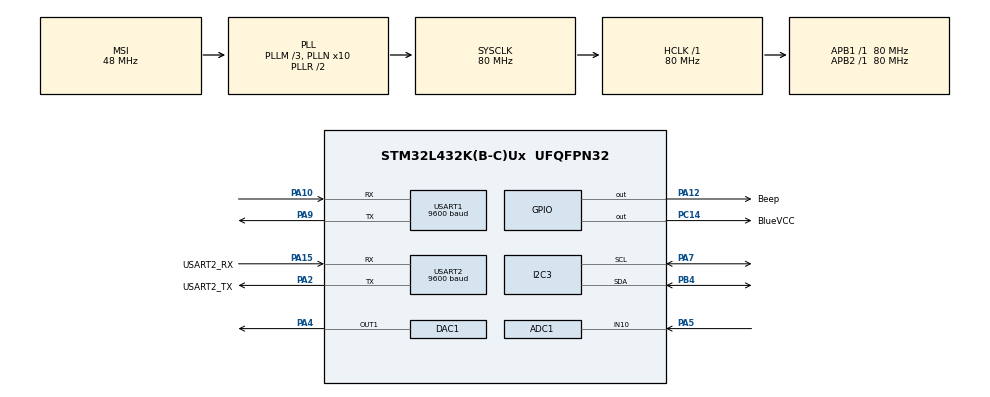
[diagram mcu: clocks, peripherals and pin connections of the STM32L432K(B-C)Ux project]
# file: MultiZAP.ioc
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ADC1.Channel-0\#ChannelRegularConversion=ADC_CHANNEL_10
ADC1.ContinuousConvMode=ENABLE
ADC1.DMAContinuousRequests=ENABLE
ADC1.NbrOfConversionFlag=1
ADC1.OffsetNumber-0\#ChannelRegularConversion=ADC_OFFSET_NONE
ADC1.Rank-0\#ChannelRegularConversion=1
ADC1.SamplingTime-0\#ChannelRegularConversion=ADC_SAMPLETIME_247CYCLES_5
ADC1.master=1
DAC1.DAC_Trigger-DAC_OUT1=DAC_TRIGGER_T6_TRGO
Dma.ADC1.1.Direction=DMA_PERIPH_TO_MEMORY
Dma.ADC1.1.Instance=DMA1_Channel1
Dma.ADC1.1.MemDataAlignment=DMA_MDATAALIGN_HALFWORD
Dma.ADC1.1.MemInc=DMA_MINC_ENABLE
Dma.ADC1.1.Mode=DMA_CIRCULAR
Dma.ADC1.1.PeriphDataAlignment=DMA_PDATAALIGN_HALFWORD
Dma.ADC1.1.PeriphInc=DMA_PINC_DISABLE
Dma.ADC1.1.Priority=DMA_PRIORITY_LOW
Dma.DAC_CH1.0.Direction=DMA_MEMORY_TO_PERIPH
Dma.DAC_CH1.0.Instance=DMA1_Channel3
Dma.DAC_CH1.0.MemDataAlignment=DMA_MDATAALIGN_HALFWORD
Dma.DAC_CH1.0.MemInc=DMA_MINC_ENABLE
Dma.DAC_CH1.0.Mode=DMA_CIRCULAR
Dma.DAC_CH1.0.PeriphDataAlignment=DMA_PDATAALIGN_HALFWORD
Dma.DAC_CH1.0.PeriphInc=DMA_PINC_DISABLE
Dma.DAC_CH1.0.Priority=DMA_PRIORITY_LOW
Dma.Request0=DAC_CH1
Dma.Request1=ADC1
I2C3.Timing=0x10909CEC
Mcu.Family=STM32L4
Mcu.Name=STM32L432K(B-C)Ux
Mcu.Package=UFQFPN32
NVIC.DMA1_Channel1_IRQn=true\:0\:0\:false\:false\:true\:false\:true
NVIC.DMA1_Channel3_IRQn=true\:0\:0\:false\:false\:true\:false\:true
NVIC.PriorityGroup=NVIC_PRIORITYGROUP_4
NVIC.TIM6_DAC_IRQn=true\:0\:0\:false\:false\:true\:true\:true
NVIC.USART1_IRQn=true\:0\:0\:false\:false\:true\:true\:true
NVIC.USART2_IRQn=true\:0\:0\:false\:false\:true\:true\:true
PA0.Mode=HSE-External-Clock-Source-for-LittleOrca
PA0.Signal=RCC_CK_IN
PA10.Mode=Asynchronous
PA10.Signal=USART1_RX
PA12.GPIO_Label=Beep
PA12.Signal=GPIO_Output
PA13\ (JTMS-SWDIO).Mode=Serial_Wire
PA13\ (JTMS-SWDIO).Signal=SYS_JTMS-SWDIO
PA14\ (JTCK-SWCLK).Mode=Serial_Wire
PA14\ (JTCK-SWCLK).Signal=SYS_JTCK-SWCLK
PA15\ (JTDI).GPIO_Label=USART2_RX
PA15\ (JTDI).Mode=Asynchronous
PA15\ (JTDI).Signal=USART2_RX
PA2.GPIO_Label=USART2_TX
PA2.Mode=Asynchronous
PA2.Signal=USART2_TX
PA4.Signal=COMP_DAC11_group
PA5.Signal=ADCx_IN10
PA7.Mode=I2C
PA7.Signal=I2C3_SCL
PA9.Mode=Asynchronous
PA9.Signal=USART1_TX
PB4\ (NJTRST).Mode=I2C
PB4\ (NJTRST).Signal=I2C3_SDA
PC14-OSC32_IN\ (PC14).GPIO_Label=BlueVCC
PC14-OSC32_IN\ (PC14).GPIO_PuPd=GPIO_PULLUP
PC14-OSC32_IN\ (PC14).Signal=GPIO_Output
ProjectManager.HeapSize=0x200
ProjectManager.StackSize=0x400
ProjectManager.TargetToolchain=SW4STM32
RCC.ADCCLockSelection=RCC_ADCCLKSOURCE_SYSCLK
RCC.ADCFreq_Value=80000000
RCC.AHBFreq_Value=80000000
RCC.APB1Freq_Value=80000000
RCC.APB1TimFreq_Value=80000000
RCC.APB2Freq_Value=80000000
RCC.APB2TimFreq_Value=80000000
RCC.CortexFreq_Value=80000000
RCC.HCLKFreq_Value=80000000
RCC.HSE_VALUE=24000000
RCC.HSI48_VALUE=48000000
RCC.HSI_VALUE=16000000
RCC.LSE_VALUE=32768
RCC.MSIClockRange=RCC_MSIRANGE_11
RCC.MSI_VALUE=48000000
RCC.PLLM=3
RCC.PLLN=10
RCC.PLLSAI1N=10
RCC.SYSCLKFreq_VALUE=80000000
RCC.SYSCLKSource=RCC_SYSCLKSOURCE_PLLCLK
RCC.USBFreq_Value=80000000
RCC.VCOOutputFreq_Value=160000000
SH.ADCx_IN10.0=ADC1_IN10,IN10-Single-Ended
SH.COMP_DAC11_group.0=DAC1_OUT1,DAC_OUT1
TIM6.TIM_MasterOutputTrigger=TIM_TRGO_UPDATE
USART1.BaudRate=9600
USART1.VirtualMode-Asynchronous=VM_ASYNC
USART2.BaudRate=9600
USART2.DMADisableonRxErrorParam=ADVFEATURE_DMA_ENABLEONRXERROR
USART2.OneBitSampling=UART_ONE_BIT_SAMPLE_DISABLE
USART2.OverrunDisableParam=ADVFEATURE_OVERRUN_ENABLE
USART2.SwapParam=ADVFEATURE_SWAP_DISABLE
USART2.VirtualMode-Asynchronous=VM_ASYNC
VP_TIM6_VS_ClockSourceINT.Mode=Enable_Timer
board=custom

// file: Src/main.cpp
/* USER CODE BEGIN Header */
/**
  ******************************************************************************
  * @file           : main.c
  * @brief          : Main program body
  ******************************************************************************
  * @attention
  *
  * <h2><center>&copy; Copyright (c) 2020 STMicroelectronics.
  * All rights reserved.</center></h2>
  *
  * This software component is licensed by ST under BSD 3-Clause license,
  * the "License"; You may not use this file except in compliance with the
  * License. You may obtain a copy of the License at:
  *                        opensource.org/licenses/BSD-3-Clause
  *
  ******************************************************************************
  */
/* USER CODE END Header */
#include "main.h"

/* USER CODE BEGIN Includes */
#include <string>
using namespace std;

#include "i2c_keypad.h"
#include "i2c_lcd.h"
#include "biozap_comm.h"
#include "biozap_prog.h"
#include "biozap_freq.h"
/* USER CODE END Includes */

ADC_HandleTypeDef hadc1;
DMA_HandleTypeDef hdma_adc1;

DAC_HandleTypeDef hdac1;
DMA_HandleTypeDef hdma_dac_ch1;

I2C_HandleTypeDef hi2c3;

TIM_HandleTypeDef htim6;

UART_HandleTypeDef huart1;
UART_HandleTypeDef huart2;

/* USER CODE BEGIN PV */
bool Keypad_withIT = true;
string lcd_msg = "multiZAP";
extern string EOL;
string uart_welcome_str = EOL+"multiZAP++ welcome !"+EOL+">";

#define adc_channels 1
uint16_t value_adc[adc_channels];

i2ckeypad i2c_keyPad(i2ckeypad(KEYPADD_ADDR));
/* USER CODE END PV */

void SystemClock_Config(void);
static void MX_GPIO_Init(void);
static void MX_DMA_Init(void);
static void MX_DAC1_Init(void);
static void MX_USART2_UART_Init(void);
static void MX_USART1_UART_Init(void);
static void MX_I2C3_Init(void);
static void MX_TIM6_Init(void);
static void MX_ADC1_Init(void);

/* USER CODE BEGIN 0 */

uint32_t Start_ADC(){
  HAL_ADC_Start(&hadc1);
  HAL_ADC_PollForConversion(&hadc1, HAL_MAX_DELAY);
  uint32_t adc_value = HAL_ADC_GetValue(&hadc1);
  //HAL_ADC_GetValue(&hadc1);
  HAL_ADC_Stop(&hadc1);
  return adc_value;
}

char saveKeyP = KEYPAD_NO_PRESSED;

void  printKey(char key)
{
  if (key != KEYPAD_NO_PRESSED)
  {
    value_adc[0] = Start_ADC();
    std::string workStr = "";
    workStr += key;
    workStr += " " + to_string((uint16_t)value_adc[0]) + "     " + EOL;
    KiIratas(&hi2c3, &huart2, workStr, false);
  }
}

char readKeyboard() {
  //char actKeyP = i2c_keyPad.getKeyP();
  char actKeyP = i2c_keyPad.get_key();
  if (saveKeyP != actKeyP)
  {
    saveKeyP = actKeyP;
    printKey(saveKeyP);
    if (saveKeyP == 'A') {
      //abort_Prog_Run = true; // in biozap_comm Delay
    }
    if (saveKeyP == 'B') {
        HAL_GPIO_TogglePin(BlueVCC_GPIO_Port, BlueVCC_Pin);
    }
    return saveKeyP;
  }
  else
    return KEYPAD_NO_PRESSED;
}

/* USER CODE END 0 */

int main(void)
{

  /* MCU Configuration--------------------------------------------------------*/

  /* Reset of all peripherals, Initializes the Flash interface and the Systick. */
  HAL_Init();

  /* Configure the system clock */
  SystemClock_Config();

  /* Initialize all configured peripherals */
  MX_GPIO_Init();
  MX_DMA_Init();
  MX_DAC1_Init();
  MX_USART2_UART_Init();
  MX_USART1_UART_Init();
  MX_I2C3_Init();
  MX_TIM6_Init();
  MX_ADC1_Init();
  /* USER CODE BEGIN 2 */
  extern uint8_t rx_data;
  extern volatile bool command_arrived;
  extern uint8_t rx1_data;
  extern volatile bool command1_arrived;
  uart_TX_IT(&huart2, uart_welcome_str);  // Welcome string to Serial
  HAL_UART_Receive_IT(&huart2, &rx_data, 1);  // Serial2 receive starting.
  uart_TX_IT(&huart1, uart_welcome_str);  // Welcome string to Serial
  HAL_UART_Receive_IT(&huart1, &rx1_data, 1);  // Serial2 receive starting.

  init_LCD(&hi2c3, &huart2, lcd_msg);

  i2c_keyPad.init();
  //init_Keypad(Keypad_withIT, &htim7); // Keypad init with interrupt routines or polling

  HAL_ADCEx_Calibration_Start(&hadc1, ADC_SINGLE_ENDED);
  //HAL_ADC_Start_DMA(&hadc1, (uint32_t *)&value_adc, adc_channels);

  extern string user_Program;
  read_flash(&user_Program);

  /* USER CODE END 2 */

  /* Infinite loop */
  while (1)
  {

    /* USER CODE BEGIN 3 */
      if (command_arrived)
      {
        command_arrived = false;
        Cmd_Interpreter(&huart2, &hdac1, &htim6, &hi2c3); // Comm uart2, Signal with hdac1 & htim6
      }
      if (command1_arrived)
      {
        command1_arrived = false;
        Cmd_Interpreter(&huart1, &hdac1, &htim6, &hi2c3); // Comm uart2, Signal with hdac1 & htim6
      }

      readKeyboard();

      /*
    char actKey = KeypadGetKey(Keypad_withIT); // Get key with interrupt or with polling
    if (actKey != KEYPAD_NO_PRESSED)
    {
      std::string workStr = "";
      workStr += actKey;
      workStr += " "  + to_string((uint16_t)value_adc[0]) + "     ";

      LCD_SendCommand(&hi2c3, LCD_ADDR, 0b11000000);
      LCD_SendString(&hi2c3, LCD_ADDR, workStr);
      uart_TX_IT(&huart2, workStr + EOL + ">");
  	}
    */
    }
  /* USER CODE END 3 */
}

void SystemClock_Config(void)
{
  RCC_OscInitTypeDef RCC_OscInitStruct = {0};
  RCC_ClkInitTypeDef RCC_ClkInitStruct = {0};
  RCC_PeriphCLKInitTypeDef PeriphClkInit = {0};

  /** Initializes the RCC Oscillators according to the specified parameters
  * in the RCC_OscInitTypeDef structure.
  */
  RCC_OscInitStruct.OscillatorType = RCC_OSCILLATORTYPE_MSI;
  RCC_OscInitStruct.MSIState = RCC_MSI_ON;
  RCC_OscInitStruct.MSICalibrationValue = 0;
  RCC_OscInitStruct.MSIClockRange = RCC_MSIRANGE_11;
  RCC_OscInitStruct.PLL.PLLState = RCC_PLL_ON;
  RCC_OscInitStruct.PLL.PLLSource = RCC_PLLSOURCE_MSI;
  RCC_OscInitStruct.PLL.PLLM = 3;
  RCC_OscInitStruct.PLL.PLLN = 10;
  RCC_OscInitStruct.PLL.PLLP = RCC_PLLP_DIV7;
  RCC_OscInitStruct.PLL.PLLQ = RCC_PLLQ_DIV2;
  RCC_OscInitStruct.PLL.PLLR = RCC_PLLR_DIV2;
  if (HAL_RCC_OscConfig(&RCC_OscInitStruct) != HAL_OK)
  {
    Error_Handler();
  }
  /** Initializes the CPU, AHB and APB buses clocks
  */
  RCC_ClkInitStruct.ClockType = RCC_CLOCKTYPE_HCLK|RCC_CLOCKTYPE_SYSCLK
                              |RCC_CLOCKTYPE_PCLK1|RCC_CLOCKTYPE_PCLK2;
  RCC_ClkInitStruct.SYSCLKSource = RCC_SYSCLKSOURCE_PLLCLK;
  RCC_ClkInitStruct.AHBCLKDivider = RCC_SYSCLK_DIV1;
  RCC_ClkInitStruct.APB1CLKDivider = RCC_HCLK_DIV1;
  RCC_ClkInitStruct.APB2CLKDivider = RCC_HCLK_DIV1;

  if (HAL_RCC_ClockConfig(&RCC_ClkInitStruct, FLASH_LATENCY_4) != HAL_OK)
  {
    Error_Handler();
  }
  PeriphClkInit.PeriphClockSelection = RCC_PERIPHCLK_USART1|RCC_PERIPHCLK_USART2
                              |RCC_PERIPHCLK_I2C3|RCC_PERIPHCLK_ADC;
  PeriphClkInit.Usart1ClockSelection = RCC_USART1CLKSOURCE_PCLK2;
  PeriphClkInit.Usart2ClockSelection = RCC_USART2CLKSOURCE_PCLK1;
  PeriphClkInit.I2c3ClockSelection = RCC_I2C3CLKSOURCE_PCLK1;
  PeriphClkInit.AdcClockSelection = RCC_ADCCLKSOURCE_SYSCLK;
  if (HAL_RCCEx_PeriphCLKConfig(&PeriphClkInit) != HAL_OK)
  {
    Error_Handler();
  }
  /** Configure the main internal regulator output voltage
  */
  if (HAL_PWREx_ControlVoltageScaling(PWR_REGULATOR_VOLTAGE_SCALE1) != HAL_OK)
  {
    Error_Handler();
  }
}

static void MX_ADC1_Init(void)
{

  ADC_ChannelConfTypeDef sConfig = {0};

  /** Common config
  */
  hadc1.Instance = ADC1;
  hadc1.Init.ClockPrescaler = ADC_CLOCK_ASYNC_DIV1;
  hadc1.Init.Resolution = ADC_RESOLUTION_12B;
  hadc1.Init.DataAlign = ADC_DATAALIGN_RIGHT;
  hadc1.Init.ScanConvMode = ADC_SCAN_DISABLE;
  hadc1.Init.EOCSelection = ADC_EOC_SINGLE_CONV;
  hadc1.Init.LowPowerAutoWait = DISABLE;
  hadc1.Init.ContinuousConvMode = ENABLE;
  hadc1.Init.NbrOfConversion = 1;
  hadc1.Init.DiscontinuousConvMode = DISABLE;
  hadc1.Init.ExternalTrigConv = ADC_SOFTWARE_START;
  hadc1.Init.ExternalTrigConvEdge = ADC_EXTERNALTRIGCONVEDGE_NONE;
  hadc1.Init.DMAContinuousRequests = ENABLE;
  hadc1.Init.Overrun = ADC_OVR_DATA_PRESERVED;
  hadc1.Init.OversamplingMode = DISABLE;
  if (HAL_ADC_Init(&hadc1) != HAL_OK)
  {
    Error_Handler();
  }
  /** Configure Regular Channel
  */
  sConfig.Channel = ADC_CHANNEL_10;
  sConfig.Rank = ADC_REGULAR_RANK_1;
  sConfig.SamplingTime = ADC_SAMPLETIME_247CYCLES_5;
  sConfig.SingleDiff = ADC_SINGLE_ENDED;
  sConfig.OffsetNumber = ADC_OFFSET_NONE;
  sConfig.Offset = 0;
  if (HAL_ADC_ConfigChannel(&hadc1, &sConfig) != HAL_OK)
  {
    Error_Handler();
  }

}

static void MX_DAC1_Init(void)
{

  DAC_ChannelConfTypeDef sConfig = {0};

  /** DAC Initialization
  */
  hdac1.Instance = DAC1;
  if (HAL_DAC_Init(&hdac1) != HAL_OK)
  {
    Error_Handler();
  }
  /** DAC channel OUT1 config
  */
  sConfig.DAC_SampleAndHold = DAC_SAMPLEANDHOLD_DISABLE;
  sConfig.DAC_Trigger = DAC_TRIGGER_T6_TRGO;
  sConfig.DAC_OutputBuffer = DAC_OUTPUTBUFFER_ENABLE;
  sConfig.DAC_ConnectOnChipPeripheral = DAC_CHIPCONNECT_DISABLE;
  sConfig.DAC_UserTrimming = DAC_TRIMMING_FACTORY;
  if (HAL_DAC_ConfigChannel(&hdac1, &sConfig, DAC_CHANNEL_1) != HAL_OK)
  {
    Error_Handler();
  }

}

static void MX_I2C3_Init(void)
{

  hi2c3.Instance = I2C3;
  hi2c3.Init.Timing = 0x10909CEC;
  hi2c3.Init.OwnAddress1 = 0;
  hi2c3.Init.AddressingMode = I2C_ADDRESSINGMODE_7BIT;
  hi2c3.Init.DualAddressMode = I2C_DUALADDRESS_DISABLE;
  hi2c3.Init.OwnAddress2 = 0;
  hi2c3.Init.OwnAddress2Masks = I2C_OA2_NOMASK;
  hi2c3.Init.GeneralCallMode = I2C_GENERALCALL_DISABLE;
  hi2c3.Init.NoStretchMode = I2C_NOSTRETCH_DISABLE;
  if (HAL_I2C_Init(&hi2c3) != HAL_OK)
  {
    Error_Handler();
  }
  /** Configure Analogue filter
  */
  if (HAL_I2CEx_ConfigAnalogFilter(&hi2c3, I2C_ANALOGFILTER_ENABLE) != HAL_OK)
  {
    Error_Handler();
  }
  /** Configure Digital filter
  */
  if (HAL_I2CEx_ConfigDigitalFilter(&hi2c3, 0) != HAL_OK)
  {
    Error_Handler();
  }

}

static void MX_TIM6_Init(void)
{

  TIM_MasterConfigTypeDef sMasterConfig = {0};

  htim6.Instance = TIM6;
  htim6.Init.Prescaler = 0;
  htim6.Init.CounterMode = TIM_COUNTERMODE_UP;
  htim6.Init.Period = 65535;
  htim6.Init.AutoReloadPreload = TIM_AUTORELOAD_PRELOAD_DISABLE;
  if (HAL_TIM_Base_Init(&htim6) != HAL_OK)
  {
    Error_Handler();
  }
  sMasterConfig.MasterOutputTrigger = TIM_TRGO_UPDATE;
  sMasterConfig.MasterSlaveMode = TIM_MASTERSLAVEMODE_DISABLE;
  if (HAL_TIMEx_MasterConfigSynchronization(&htim6, &sMasterConfig) != HAL_OK)
  {
    Error_Handler();
  }

}

static void MX_USART1_UART_Init(void)
{

  huart1.Instance = USART1;
  huart1.Init.BaudRate = 9600;
  huart1.Init.WordLength = UART_WORDLENGTH_8B;
  huart1.Init.StopBits = UART_STOPBITS_1;
  huart1.Init.Parity = UART_PARITY_NONE;
  huart1.Init.Mode = UART_MODE_TX_RX;
  huart1.Init.HwFlowCtl = UART_HWCONTROL_NONE;
  huart1.Init.OverSampling = UART_OVERSAMPLING_16;
  huart1.Init.OneBitSampling = UART_ONE_BIT_SAMPLE_DISABLE;
  huart1.AdvancedInit.AdvFeatureInit = UART_ADVFEATURE_NO_INIT;
  if (HAL_UART_Init(&huart1) != HAL_OK)
  {
    Error_Handler();
  }

}

static void MX_USART2_UART_Init(void)
{

  huart2.Instance = USART2;
  huart2.Init.BaudRate = 9600;
  huart2.Init.WordLength = UART_WORDLENGTH_8B;
  huart2.Init.StopBits = UART_STOPBITS_1;
  huart2.Init.Parity = UART_PARITY_NONE;
  huart2.Init.Mode = UART_MODE_TX_RX;
  huart2.Init.HwFlowCtl = UART_HWCONTROL_NONE;
  huart2.Init.OverSampling = UART_OVERSAMPLING_16;
  huart2.Init.OneBitSampling = UART_ONE_BIT_SAMPLE_DISABLE;
  huart2.AdvancedInit.AdvFeatureInit = UART_ADVFEATURE_NO_INIT;
  if (HAL_UART_Init(&huart2) != HAL_OK)
  {
    Error_Handler();
  }

}

static void MX_DMA_Init(void)
{

  /* DMA controller clock enable */
  __HAL_RCC_DMA1_CLK_ENABLE();

  /* DMA interrupt init */
  /* DMA1_Channel1_IRQn interrupt configuration */
  HAL_NVIC_SetPriority(DMA1_Channel1_IRQn, 0, 0);
  HAL_NVIC_EnableIRQ(DMA1_Channel1_IRQn);
  /* DMA1_Channel3_IRQn interrupt configuration */
  HAL_NVIC_SetPriority(DMA1_Channel3_IRQn, 0, 0);
  HAL_NVIC_EnableIRQ(DMA1_Channel3_IRQn);

}

static void MX_GPIO_Init(void)
{
  GPIO_InitTypeDef GPIO_InitStruct = {0};

  /* GPIO Ports Clock Enable */
  __HAL_RCC_GPIOC_CLK_ENABLE();
  __HAL_RCC_GPIOA_CLK_ENABLE();
  __HAL_RCC_GPIOB_CLK_ENABLE();

  /*Configure GPIO pin Output Level */
  HAL_GPIO_WritePin(BlueVCC_GPIO_Port, BlueVCC_Pin, GPIO_PIN_RESET);

  /*Configure GPIO pin Output Level */
  HAL_GPIO_WritePin(Beep_GPIO_Port, Beep_Pin, GPIO_PIN_RESET);

  /*Configure GPIO pin : BlueVCC_Pin */
  GPIO_InitStruct.Pin = BlueVCC_Pin;
  GPIO_InitStruct.Mode = GPIO_MODE_OUTPUT_PP;
  GPIO_InitStruct.Pull = GPIO_PULLUP;
  GPIO_InitStruct.Speed = GPIO_SPEED_FREQ_LOW;
  HAL_GPIO_Init(BlueVCC_GPIO_Port, &GPIO_InitStruct);

  /*Configure GPIO pin : Beep_Pin */
  GPIO_InitStruct.Pin = Beep_Pin;
  GPIO_InitStruct.Mode = GPIO_MODE_OUTPUT_PP;
  GPIO_InitStruct.Pull = GPIO_NOPULL;
  GPIO_InitStruct.Speed = GPIO_SPEED_FREQ_LOW;
  HAL_GPIO_Init(Beep_GPIO_Port, &GPIO_InitStruct);

}

void Error_Handler(void)
{
}

/************************ (C) COPYRIGHT STMicroelectronics *****END OF FILE****/
